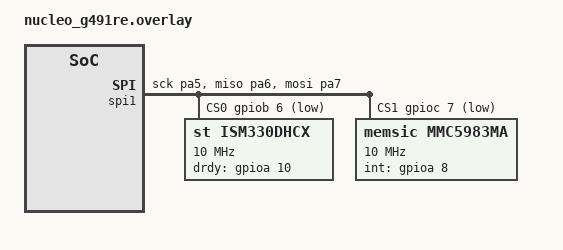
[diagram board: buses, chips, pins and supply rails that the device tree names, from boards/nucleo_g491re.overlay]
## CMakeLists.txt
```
cmake_minimum_required(VERSION 3.20.0)

# The MMC5983MA driver is a Zephyr module (zephyr/module.yml) so that it links
# like an in-tree driver. A zephyr_library() created after find_package(Zephyr)
# is never linked and its device object would silently vanish.
list(APPEND ZEPHYR_EXTRA_MODULES ${CMAKE_CURRENT_SOURCE_DIR})

find_package(Zephyr REQUIRED HINTS $ENV{ZEPHYR_BASE})
project(imu_ekf LANGUAGES C)

target_sources(app PRIVATE
	src/main.c
	src/sensor_hub/sensor_hub.c
	src/sensor_hub/sensor_cal.c
	src/sensor_hub/ism330_spi_only.c
	src/ekf/ekf_core.c
	src/ekf/ekf_math.c
	src/fusion/fusion.c
	src/telemetry/telemetry.c
)
target_include_directories(app PRIVATE src)
# -Wvla is left out on purpose: Zephyr's LOG_* macros expand to VLAs.
target_compile_options(app PRIVATE
	-Wall -Wextra -Wshadow -Wdouble-promotion -Wfloat-conversion -Werror)
```

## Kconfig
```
mainmenu "9-DoF EKF"

# The MMC5983MA driver symbols arrive through the module (zephyr/module.yml).
rsource "Kconfig.app"

source "Kconfig.zephyr"
```

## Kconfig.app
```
# Application symbols, shared with the hardware test applications in tests/hw.

module = APP
module-str = app
source "subsys/logging/Kconfig.template.log_config"

config APP_ISM330_SPI_ONLY_INIT_PRIORITY
	int "ISM330DHCX I2C_disable hook priority"
	default 91
	help
	  POST_KERNEL priority of the hook that sets CTRL4_C.I2C_disable. It must
	  run after the ISM330DHCX driver (CONFIG_SENSOR_INIT_PRIORITY) and before
	  the MMC5983MA driver (CONFIG_MMC5983MA_INIT_PRIORITY).

config APP_EKF_USE_MAG
	bool "Correct heading with the magnetometer"
	default y
	help
	  When disabled, heading comes from the gyroscope alone.

config APP_MAG_DECLINATION_MDEG
	int "Magnetic declination D [millidegree, east positive]"
	default 0
	range -180000 180000
	help
	  0 makes yaw relative to magnetic north.

config APP_MAG_INCLINATION_MDEG
	int "Magnetic inclination I [millidegree, down positive]"
	default 56000
	range -90000 90000
	help
	  The default is the approximate value for Istanbul. Take the value for
	  the place of use from the NOAA WMM calculator.

config APP_TELEMETRY_RATE_HZ
	int "Telemetry stream rate at boot [Hz]"
	default 20
	range 1 50

config APP_MAG_OFFSET_REFRESH_S
	int "Seconds between magnetometer bridge offset refreshes"
	default 60
	range 1 86400
	help
	  The refresh blocks the sensor thread for about 11 ms and only runs
	  while the board is at rest.
```

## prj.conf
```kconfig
# Kernel
CONFIG_PM=n
CONFIG_TIMESLICING=n
CONFIG_HW_STACK_PROTECTION=y
CONFIG_THREAD_NAME=y
CONFIG_THREAD_STACK_INFO=y
CONFIG_INIT_STACKS=y

# No heap
CONFIG_HEAP_MEM_POOL_SIZE=0
CONFIG_COMMON_LIBC_MALLOC_ARENA_SIZE=0

# Single-precision FPU and CMSIS-DSP
CONFIG_FPU=y
CONFIG_FPU_SHARING=y
CONFIG_CMSIS_DSP=y
CONFIG_CMSIS_DSP_MATRIX=y
CONFIG_CMSIS_DSP_MATRIXCHECK=y

# Bus and sensors
CONFIG_GPIO=y
CONFIG_SPI=y
CONFIG_SENSOR=y
CONFIG_ISM330DHCX_TRIGGER_OWN_THREAD=y
CONFIG_APP_ISM330_SPI_ONLY_INIT_PRIORITY=91
CONFIG_MMC5983MA_INIT_PRIORITY=92
CONFIG_LED=n

# Logging and shell on LPUART1
CONFIG_LOG=y
CONFIG_LOG_MODE_DEFERRED=y
CONFIG_LOG_BUFFER_SIZE=2048
CONFIG_SHELL=y
CONFIG_SHELL_STACK_SIZE=2048
CONFIG_SHELL_HISTORY=n
CONFIG_SHELL_THREAD_PRIORITY_OVERRIDE=y
CONFIG_SHELL_THREAD_PRIORITY=5
```

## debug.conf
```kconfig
# Development overlay: west build ... -- -DEXTRA_CONF_FILE=debug.conf
CONFIG_ASSERT=y
CONFIG_THREAD_ANALYZER=y
CONFIG_SCHED_THREAD_USAGE=y
CONFIG_KERNEL_SHELL=y
```

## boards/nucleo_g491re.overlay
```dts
/*
 * SparkFun 9DoF (ISM330DHCX + MMC5983MA) on SPI1.
 * Pin decisions live in HARDWARE_MAP.md; keep both in sync.
 */
#include <zephyr/dt-bindings/sensor/ism330dhcx.h>

/* PA5 is SPI1_SCK here. The board DTS also claims it for TIM2_CH1 (pwm2). */
&pwm2 {
	status = "disabled";
};

&spi1 {
	pinctrl-0 = <&spi1_sck_pa5 &spi1_miso_pa6 &spi1_mosi_pa7>;
	pinctrl-names = "default";
	cs-gpios = <&gpiob 6 GPIO_ACTIVE_LOW>,	/* reg 0: D10 -> ACS */
		   <&gpioc 7 GPIO_ACTIVE_LOW>;	/* reg 1: D9  -> MCS */
	status = "okay";

	ism330dhcx: ism330dhcx@0 {
		compatible = "st,ism330dhcx";
		reg = <0>;
		spi-max-frequency = <10000000>;	/* /32 -> 5.3125 MHz */
		/* INT1 must never be pulled up (DS13012 sec. 6). */
		drdy-gpios = <&gpioa 10 (GPIO_ACTIVE_HIGH | GPIO_PULL_DOWN)>;
		int-pin = <1>;
		accel-odr = <ISM330DHCX_DT_ODR_104Hz>;
		gyro-odr = <ISM330DHCX_DT_ODR_104Hz>;
		accel-range = <4>;
		gyro-range = <500>;
	};

	mmc5983ma: mmc5983ma@1 {
		compatible = "memsic,mmc5983ma";
		reg = <1>;
		spi-max-frequency = <10000000>;
		/* Hi-Z until INT_meas_done_en is set; only used by CONFIG_MMC5983MA_INT_DIAG. */
		int-gpios = <&gpioa 8 (GPIO_ACTIVE_HIGH | GPIO_PULL_DOWN)>;
	};
};
```

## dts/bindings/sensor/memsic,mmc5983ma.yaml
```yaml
description: MEMSIC MMC5983MA 3-axis AMR magnetometer on SPI

compatible: "memsic,mmc5983ma"

include: [sensor-device.yaml, spi-device.yaml]

properties:
  int-gpios:
    type: phandle-array
    description: |
      INT output, active high, hi-Z until INT_meas_done_en is set.
      Only configured when CONFIG_MMC5983MA_INT_DIAG=y; needs a pull-down.
```

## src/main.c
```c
/* Start-up: readiness checks, the three application threads, then the DRDY trigger. */
#include <zephyr/kernel.h>
#include <zephyr/logging/log.h>

#include "fusion/fusion.h"
#include "sensor_hub/sensor_hub.h"
#include "telemetry/telemetry.h"

LOG_MODULE_REGISTER(app_main, CONFIG_APP_LOG_LEVEL);

#define SENSOR_STACK_SIZE    1024
#define FUSION_STACK_SIZE    2048
#define TELEMETRY_STACK_SIZE 2048

#define SENSOR_PRIORITY    K_PRIO_PREEMPT(2)
#define FUSION_PRIORITY    K_PRIO_PREEMPT(3)
#define TELEMETRY_PRIORITY K_PRIO_PREEMPT(5)

/* Created stopped; main() starts them once the sensors are known to be alive. */
K_THREAD_DEFINE(sensor_thread, SENSOR_STACK_SIZE, sensor_hub_run, NULL, NULL, NULL,
		SENSOR_PRIORITY, K_FP_REGS, SYS_FOREVER_MS);
K_THREAD_DEFINE(fusion_thread, FUSION_STACK_SIZE, fusion_run, NULL, NULL, NULL, FUSION_PRIORITY,
		K_FP_REGS, SYS_FOREVER_MS);
K_THREAD_DEFINE(telemetry_thread, TELEMETRY_STACK_SIZE, telemetry_run, NULL, NULL, NULL,
		TELEMETRY_PRIORITY, K_FP_REGS, SYS_FOREVER_MS);

int main(void)
{
	int rc = sensor_hub_init();

	if (rc != 0) {
		LOG_ERR("sensors not ready (%d), nothing started", rc);
		return rc;
	}

	/* Consumers first, so that the first sample already finds its reader. */
	k_thread_start(telemetry_thread);
	k_thread_start(fusion_thread);
	k_thread_start(sensor_thread);

	rc = sensor_hub_enable_trigger();
	if (rc != 0) {
		LOG_ERR("cannot enable the data-ready trigger (%d)", rc);
	}

	return rc;
}
```
